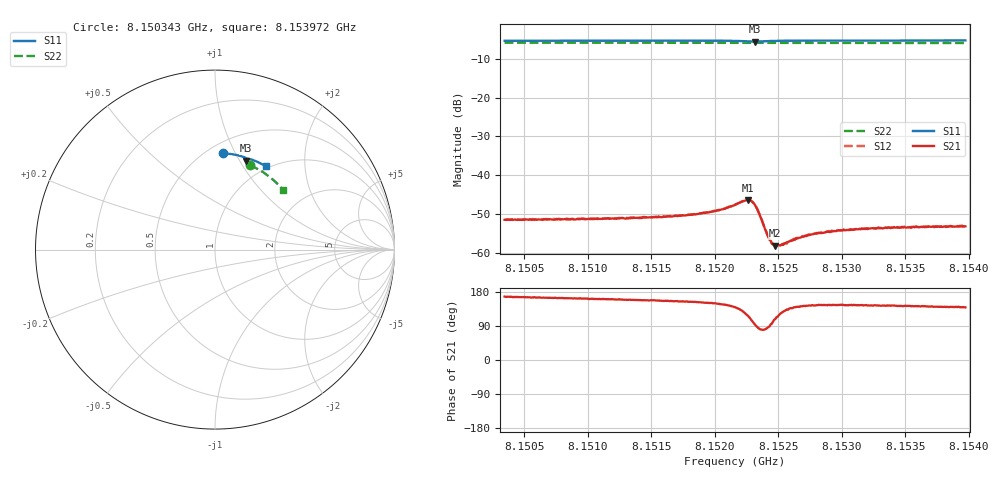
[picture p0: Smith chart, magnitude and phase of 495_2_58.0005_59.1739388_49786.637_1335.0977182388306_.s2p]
#  HZ  S  RI  R  50.00
! Rohde & Schwarz Vector Network Analyzer
! Rohde-Schwarz,ZNB20-2Port,1311601062101988,3.16
! Created: UTC 3/21/2024, 1:12:26 AM
! freq[Hz]  re:S11  im:S11  re:S21  im:S21  re:S12  im:S12  re:S22  im:S22
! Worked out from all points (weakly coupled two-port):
!   401 points, 8.150343 GHz to 8.153972 GHz, reference 50 ohm
!   highest |S21| = -46.45 dB at 8.152258 GHz (marker M1); lowest = -58.2 dB at 8.152475 GHz (marker M2)
!   lowest |S11| = -5.6 dB at 8.152312 GHz (marker M3), VSWR 3.21, Z = 39.1 + j53.4 ohm
!   |S11| at or under -10 dB: nowhere
!   |S22| runs from -6.0 to -5.9 dB; largest |S21 - S12| = 0.00012
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8.1503434e9  0.0468 0.5365  -0.00259 0.000579  -0.0026 0.000657  0.1966 0.4699
8.1509512e9  0.0891 0.5323  -0.00259 0.00084  -0.00261 0.000903  0.2317 0.4529
8.1515591e9  0.1313 0.5242  -0.00265 0.00114  -0.0027 0.00121  0.2652 0.433
8.1517315e9  0.1435 0.5212  -0.00271 0.00128  -0.00268 0.00131  0.2744 0.4271
8.1519583e9  0.16 0.5161  -0.00291 0.00166  -0.00288 0.00167  0.2863 0.4186
8.1520762e9  0.169 0.5122  -0.00305 0.00205  -0.00306 0.0021  0.2923 0.4142
8.1521579e9  0.1753 0.5077  -0.00312 0.00268  -0.00312 0.0028  0.2964 0.4109
8.1522214e9  0.1791 0.502  -0.00284 0.00363  -0.00282 0.0037  0.2996 0.4082
8.1522577e9  0.1788 0.4976  -0.00218 0.00423  -0.00213 0.0043  0.3012 0.4069
8.1522849e9  0.1769 0.4952  -0.00131 0.00446  -0.00126 0.00451  0.3023 0.4057
8.1523121e9  0.1738 0.4951  -0.00035 0.00419  -0.000282 0.00418  0.3034 0.4048
8.1523393e9  0.1718 0.4974  0.000307 0.0034  0.000343 0.00349  0.3049 0.4038
8.1524028e9  0.1746 0.5037  0.000254 0.00187  0.000292 0.00186  0.3083 0.4016
8.15243e9  0.1772 0.505  2.99e-05 0.00146  2.17e-05 0.00147  0.3095 0.4006
8.1524482e9  0.1792 0.5056  -0.000139 0.0013  -0.00012 0.00133  0.3105 0.4001
8.1524754e9  0.1819 0.506  -0.000383 0.00117  -0.000365 0.00118  0.3119 0.3989
8.1525208e9  0.1861 0.5058  -0.000702 0.00104  -0.000685 0.00106  0.3141 0.3972
8.1526296e9  0.1952 0.5042  -0.00111 0.00095  -0.00114 0.000998  0.3194 0.3926
8.1527657e9  0.2053 0.5011  -0.00141 0.000996  -0.00136 0.00104  0.3259 0.3871
8.1529925e9  0.221 0.4953  -0.0016 0.00109  -0.00159 0.00112  0.3366 0.3773
8.1533736e9  0.2457 0.4844  -0.00171 0.00124  -0.00168 0.00127  0.3537 0.3604
8.1539723e9  0.2825 0.465  -0.00165 0.00144  -0.00164 0.0015  0.3789 0.3323
